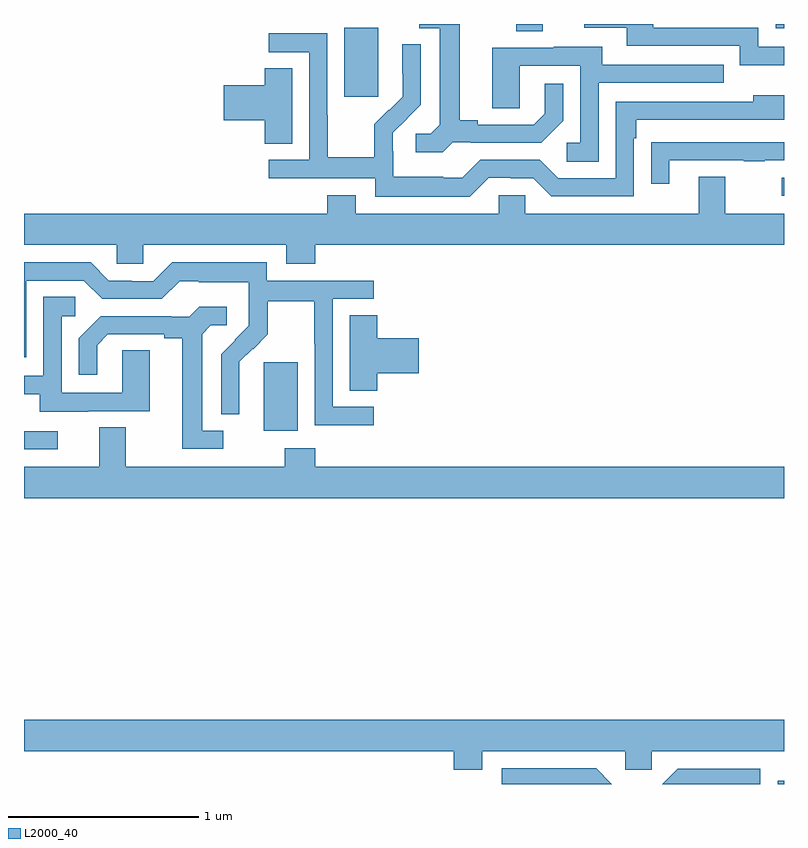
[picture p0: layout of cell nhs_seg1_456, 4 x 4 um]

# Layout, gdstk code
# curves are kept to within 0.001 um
import gdstk
lib = gdstk.Library(unit=1e-6, precision=1e-09)
def R(c, l, rs):  # rectangles x0, y0, x1, y1
    for r in rs: c.add(gdstk.rectangle(r[:2], r[2:], *l))
def P(c, l, *ps):  # polygons
    for p in ps: c.add(gdstk.Polygon(p, *l))
L2000_40 = (2000, 40)

nhs_seg1_456 = lib.new_cell('nhs_seg1_456')
R(nhs_seg1_456, L2000_40, [(138.967,578.199,139,578.215), (135,579.96,135.178,580.056), (136.262,580.058,136.441,580.419), (138.987,581.295,139,581.391), (136.685,581.817,136.864,582.178), (137.591,582.16,137.731,582.199), (138.957,582.177,139,582.199)])
P(nhs_seg1_456, L2000_40, [(137.256,581.577),(137.35,581.577),(137.35,581.574),(137.722,581.574),(137.838,581.69),(137.838,581.884),(137.741,581.884),(137.741,581.727),(137.684,581.67),(137.389,581.67),(137.389,581.693),(137.293,581.693),(137.293,582.199),(137.079,582.199),(137.079,582.177),(137.189,582.177),(137.189,581.669),(137.142,581.622),(137.061,581.622),(137.061,581.525),(137.204,581.525)],
  [(139,582.078),(138.864,582.078),(138.864,582.18),(138.313,582.18),(138.313,582.199),(137.949,582.199),(137.949,582.18),(138.173,582.18),(138.173,582.084),(138.768,582.084),(138.768,581.981),(139,581.981)],
  [(137.445,581.391),(137.561,581.391),(137.561,581.388),(137.679,581.388),(137.775,581.292),(138.21,581.292),(138.21,581.597),(138.223,581.597),(138.223,581.694),(139,581.694),(139,581.824),(138.839,581.824),(138.839,581.79),(138.114,581.79),(138.114,581.388),(137.811,581.388),(137.715,581.484),(137.4,581.484),(137.307,581.391),(137.207,581.391),(137.207,581.395),(136.944,581.395),(136.944,581.529),(136.942,581.529),(136.942,581.626),(137.088,581.774),(137.088,582.092),(136.992,582.092),(136.992,581.938),(136.994,581.938),(136.994,581.816),(136.923,581.745),(136.92,581.748),(136.843,581.671),(136.843,581.497),(136.599,581.497),(136.599,581.72),(136.596,581.72),(136.596,582.15),(136.287,582.15),(136.287,582.051),(136.5,582.051),(136.5,581.484),(136.287,581.484),(136.287,581.388),(136.848,581.388),(136.848,581.291),(137.345,581.291)],
  [(138.024,581.889),(138.683,581.889),(138.683,581.985),(138.043,581.985),(138.043,582.079),(137.789,582.079),(137.789,582.075),(137.465,582.075),(137.465,581.755),(137.61,581.755),(137.61,581.979),(137.928,581.979),(137.928,581.574),(137.856,581.574),(137.856,581.473),(138.024,581.473)],
  [(136.411,581.966),(136.268,581.966),(136.268,581.876),(136.05,581.876),(136.05,581.693),(136.268,581.693),(136.268,581.569),(136.411,581.569)],
  [(138.397,581.481),(138.787,581.481),(138.787,581.476),(138.899,581.476),(138.899,581.481),(139,581.481),(139,581.577),(138.403,581.577),(138.403,581.576),(138.301,581.576),(138.301,581.358),(138.397,581.358)],
  [(136.532,581.036),(139,581.036),(139,581.2),(138.691,581.2),(138.691,581.395),(138.551,581.395),(138.551,581.2),(137.637,581.2),(137.637,581.298),(137.499,581.298),(137.499,581.2),(136.747,581.2),(136.747,581.299),(136.595,581.299),(136.595,581.2),(135,581.2),(135,581.036),(135.489,581.036),(135.489,580.938),(135.627,580.938),(135.627,581.036),(136.379,581.036),(136.379,580.937),(136.532,580.937)],
  [(136.84,580.185),(136.626,580.185),(136.626,580.752),(136.84,580.752),(136.84,580.848),(136.278,580.848),(136.278,580.945),(135.781,580.945),(135.681,580.845),(135.566,580.845),(135.566,580.848),(135.447,580.848),(135.351,580.944),(135,580.944),(135,580.446),(135.012,580.446),(135.012,580.848),(135.315,580.848),(135.411,580.752),(135.726,580.752),(135.819,580.845),(135.919,580.845),(135.919,580.841),(136.182,580.841),(136.182,580.707),(136.184,580.707),(136.184,580.61),(136.038,580.462),(136.038,580.144),(136.134,580.144),(136.133,580.421),(136.203,580.491),(136.206,580.488),(136.283,580.565),(136.283,580.74),(136.528,580.74),(136.528,580.516),(136.53,580.516),(136.53,580.087),(136.84,580.087)],
  [(135.337,580.161),(135.661,580.161),(135.661,580.481),(135.516,580.481),(135.516,580.257),(135.198,580.257),(135.198,580.662),(135.271,580.662),(135.271,580.763),(135.102,580.763),(135.102,580.347),(135,580.347),(135,580.251),(135.083,580.251),(135.083,580.157),(135.337,580.157)],
  [(136.048,580.059),(135.937,580.059),(135.937,580.567),(135.984,580.614),(136.066,580.614),(136.066,580.711),(135.922,580.711),(135.87,580.659),(135.776,580.659),(135.776,580.662),(135.404,580.662),(135.288,580.546),(135.288,580.353),(135.385,580.353),(135.385,580.509),(135.442,580.566),(135.737,580.566),(135.737,580.544),(135.833,580.544),(135.833,579.963),(136.048,579.963)],
  [(136.859,580.361),(137.077,580.361),(137.077,580.544),(136.859,580.544),(136.859,580.667),(136.715,580.667),(136.715,580.27),(136.859,580.27)],
  [(139,579.868),(136.532,579.868),(136.532,579.967),(136.372,579.967),(136.372,579.868),(135.535,579.868),(135.535,580.076),(135.395,580.076),(135.395,579.868),(135,579.868),(135,579.704),(139,579.704)],
  [(137.413,578.372),(138.165,578.372),(138.165,578.274),(138.303,578.274),(138.303,578.372),(139,578.372),(139,578.536),(135,578.536),(135,578.372),(137.261,578.372),(137.261,578.273),(137.413,578.273)],
  [(138.011,578.281),(137.514,578.281),(137.514,578.199),(138.093,578.199)],
  [(138.876,578.28),(138.441,578.28),(138.36,578.199),(138.876,578.199)])

lib.write_gds('nhs_seg1_456.gds')
